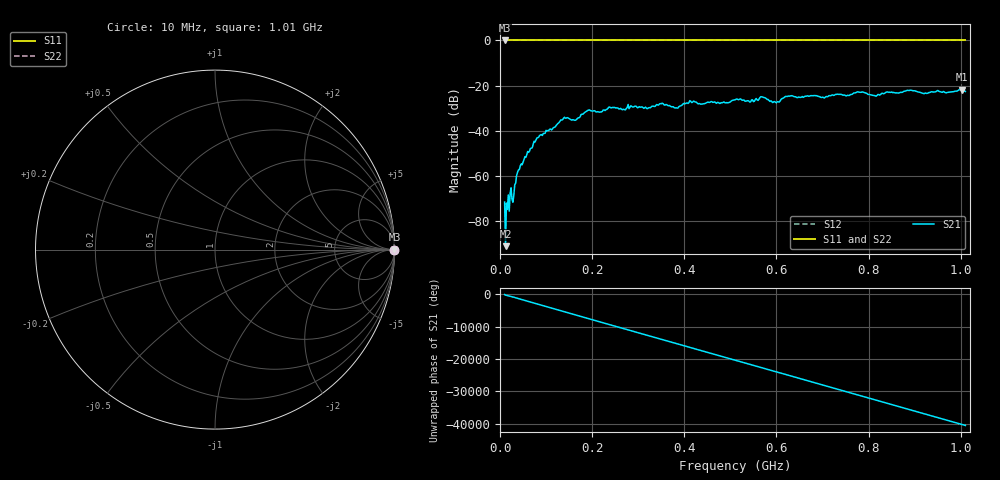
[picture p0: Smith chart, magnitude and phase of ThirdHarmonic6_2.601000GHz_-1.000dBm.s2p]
! 8/17/2025 5:38:06 AM
! C:\ANRITSUVNA\TEMP\TEMP.S2P
! CHANNEL.1
! TR.MEASUREMENT
! RAW.DATA
! RF.CORRECTION.OFF
! AVERAGING.OFF
! IF.BANDWIDTH: 5KHZ
! SWEEPTYPE:  FREQ.SWEEP(Linear)
! Reference Plane Port Info
! PORT:  PORT1  PORT2
! DISTANCE:  0  m  0  m
! TIME:  0  s  0  s
! PHASE.OFFSET:  0  deg.  0  deg.
! LOSS:  0  dB  0  dB
! REF.LOSS:  0  dB  0  dB
! REF.FREQ:  0  Hz  0  Hz
! Power Info
! POWER:  -20  dBm  -20  dBm
! EFF.POWER:  -20  dBm  -20  dBm
! SOURCE.ATTEN:  0  dB  0  dB
! TEST.ATTEN:  0  dB  0  dB
# GHZ S RI R 50.0
! FREQ.GHZ  S11RE  S11IM  S21RE  S21IM  S12RE  S12IM  S22RE  S22IM
!; PortSelection: Port_12
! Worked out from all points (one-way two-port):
!   501 points, 10 MHz to 1.01 GHz, reference 50 ohm
!   highest |S21| = -21.82 dB at 1.002 GHz (marker M1); lowest = -91.2 dB at 12 MHz (marker M2)
!   lowest |S11| = 0.0 dB at 10 MHz (marker M3)
!   |S11| at or under -10 dB: nowhere
!   |S22| runs from 0.0 to 0.0 dB; largest |S21 - S12| = 1.1
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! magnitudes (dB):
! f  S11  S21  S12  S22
! 10 MHz  0.0  -71.7  0.0  0.0
! 12 MHz  0.0  -91.2  0.0  0.0
! 16 MHz  0.0  -74.9  0.0  0.0
! 20 MHz  0.0  -75.7  0.0  0.0
! 30 MHz  0.0  -68.7  0.0  0.0
! 36 MHz  0.0  -60.0  0.0  0.0
! 42 MHz  0.0  -57.2  0.0  0.0
! 78 MHz  0.0  -44.2  0.0  0.0
! 136 MHz  0.0  -35.1  0.0  0.0
! 162 MHz  0.0  -35.4  0.0  0.0
! 178 MHz  0.0  -32.7  0.0  0.0
! 344 MHz  0.0  -28.7  0.0  0.0
! 382 MHz  0.0  -29.8  0.0  0.0
! 416 MHz  0.0  -27.6  0.0  0.0
! 510 MHz  0.0  -26.3  0.0  0.0
! 570 MHz  0.0  -25.1  0.0  0.0
! 602 MHz  0.0  -27.1  0.0  0.0
! 622 MHz  0.0  -24.8  0.0  0.0
! 678 MHz  0.0  -24.4  0.0  0.0
! 844 MHz  0.0  -23.0  0.0  0.0
! 1.002 GHz  0.0  -21.8  0.0  0.0
! 1.01 GHz  0.0  -22.6  0.0  0.0
